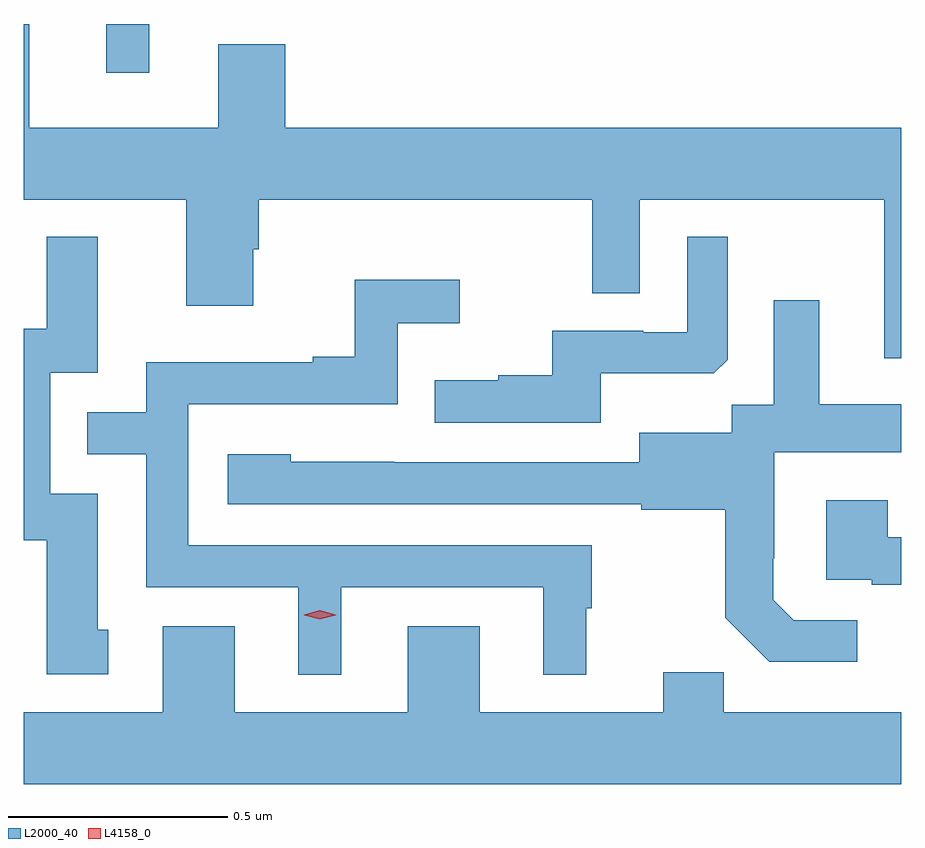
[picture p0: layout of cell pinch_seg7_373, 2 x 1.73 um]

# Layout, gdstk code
import gdstk
lib = gdstk.Library(unit=1e-6, precision=1e-09)
def R(c, l, rs):  # rectangles x0, y0, x1, y1
    for r in rs: c.add(gdstk.rectangle(r[:2], r[2:], *l))
def P(c, l, *ps):  # polygons
    for p in ps: c.add(gdstk.Polygon(p, *l))
L2000_40 = (2000, 40)
L4158_0 = (4158, 0)

pinch_seg7_373 = lib.new_cell('pinch_seg7_373')
R(pinch_seg7_373, L2000_40, [(461.156,1024.881,461.254,1024.992)])
P(pinch_seg7_373, L2000_40, [(462.968,1024.756),(461.564,1024.756),(461.564,1024.946),(461.411,1024.946),(461.411,1024.756),(460.981,1024.756),(460.981,1024.992),(460.968,1024.992),(460.968,1024.592),(461.339,1024.592),(461.339,1024.35),(461.491,1024.35),(461.491,1024.479),(461.504,1024.479),(461.504,1024.592),(462.264,1024.592),(462.264,1024.378),(462.372,1024.378),(462.372,1024.592),(462.929,1024.592),(462.929,1024.23),(462.968,1024.23)],
  [(462.283,1024.196),(462.541,1024.196),(462.573,1024.227),(462.573,1024.507),(462.48,1024.507),(462.48,1024.29),(462.38,1024.29),(462.38,1024.293),(462.173,1024.293),(462.173,1024.192),(462.049,1024.192),(462.049,1024.18),(461.905,1024.18),(461.905,1024.083),(462.283,1024.083)],
  [(461.161,1023.612),(461.137,1023.612),(461.137,1023.921),(461.028,1023.921),(461.028,1024.197),(461.137,1024.197),(461.137,1024.507),(461.021,1024.507),(461.021,1024.298),(460.968,1024.298),(460.968,1023.816),(461.021,1023.816),(461.021,1023.51),(461.161,1023.51)],
  [(461.692,1023.708),(462.152,1023.708),(462.152,1023.509),(462.25,1023.509),(462.25,1023.66),(462.262,1023.66),(462.262,1023.804),(461.343,1023.804),(461.343,1024.125),(461.82,1024.125),(461.82,1024.31),(461.962,1024.31),(461.962,1024.409),(461.722,1024.409),(461.722,1024.234),(461.627,1024.234),(461.627,1024.221),(461.247,1024.221),(461.247,1024.107),(461.113,1024.107),(461.113,1024.011),(461.247,1024.011),(461.247,1023.708),(461.594,1023.708),(461.594,1023.509),(461.692,1023.509)],
  [(462.868,1023.633),(462.723,1023.633),(462.676,1023.68),(462.676,1023.775),(462.678,1023.775),(462.678,1024.016),(462.968,1024.016),(462.968,1024.126),(462.781,1024.126),(462.781,1024.363),(462.677,1024.363),(462.677,1024.124),(462.582,1024.124),(462.582,1024.06),(462.371,1024.06),(462.371,1023.993),(461.813,1023.993),(461.813,1023.994),(461.577,1023.994),(461.577,1024.012),(461.433,1024.012),(461.433,1023.897),(462.375,1023.897),(462.375,1023.885),(462.567,1023.885),(462.567,1023.639),(462.667,1023.539),(462.868,1023.539)],
  [(462.968,1023.822),(462.937,1023.822),(462.937,1023.907),(462.797,1023.907),(462.797,1023.726),(462.901,1023.726),(462.901,1023.714),(462.968,1023.714)],
  [(462.968,1023.424),(462.563,1023.424),(462.563,1023.515),(462.425,1023.515),(462.425,1023.424),(462.007,1023.424),(462.007,1023.619),(461.843,1023.619),(461.843,1023.424),(461.449,1023.424),(461.449,1023.619),(461.285,1023.619),(461.285,1023.424),(460.968,1023.424),(460.968,1023.26),(462.968,1023.26)])
P(pinch_seg7_373, L4158_0, [(461.643,1023.636),(461.607,1023.645),(461.607,1023.646),(461.607,1023.646),(461.643,1023.656),(461.679,1023.646),(461.679,1023.646),(461.679,1023.645)])

lib.write_gds('pinch_seg7_373.gds')
